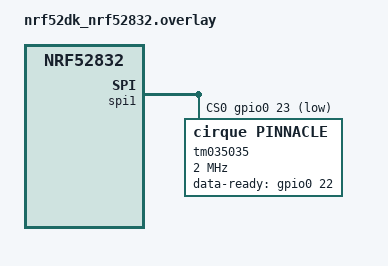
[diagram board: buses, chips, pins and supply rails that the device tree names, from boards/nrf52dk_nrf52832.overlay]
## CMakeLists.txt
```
# SPDX-License-Identifier: Apache-2.0

cmake_minimum_required(VERSION 3.26.0)
find_package(Zephyr REQUIRED HINTS $ENV{ZEPHYR_BASE})
project(pinnacle)

FILE(GLOB app_sources src/*.c)
target_sources(app PRIVATE ${app_sources})
```

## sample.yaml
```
sample:
  name: Cirque Pinnacle GlidePoint Trackpad Sensor Sample
tests:
  sample.sensor.pinnacle:
    harness: sensor
    tags: sensors
    platform_allow: nrf52dk_nrf52832
    depends_on: spi
```

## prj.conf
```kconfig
CONFIG_CONSOLE=y
CONFIG_GPIO=y
CONFIG_SENSOR=y
CONFIG_SPI=y


CONFIG_USE_SEGGER_RTT=y
CONFIG_RTT_CONSOLE=y
CONFIG_LOG=y
CONFIG_LOG_BACKEND_RTT=y
CONFIG_SENSOR=y
CONFIG_SENSOR_LOG_LEVEL_DBG=y
```

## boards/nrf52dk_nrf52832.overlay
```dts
/*
 * Copyright (c) 2024 Ilia Kharin
 *
 * SPDX-License-Identifier: Apache-2.0
 */

&spi1 {
	status = "okay";
	cs-gpios = <&gpio0 23 GPIO_ACTIVE_LOW>;
	tm035035: spi-device@0 {
		status = "okay";
		compatible = "cirque,pinnacle";
		reg = <0>;
		spi-max-frequency = <DT_FREQ_M(2)>;
		data-ready-gpios = <&gpio0 22 GPIO_ACTIVE_HIGH>;
		idle-packets-count = <20>;
		clipping-enable;
		scaling-enable;
	};
};
```

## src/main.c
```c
/*
 * Copyright (c) 2024 Ilia Kharin
 *
 * SPDX-License-Identifier: Apache-2.0
 */

#include <zephyr/device.h>
#include <zephyr/drivers/sensor.h>
#include <zephyr/kernel.h>

static struct sensor_trigger trackpad_trig;

static void trigger_handler(const struct device *dev,
			    const struct sensor_trigger *trig)
{
	struct sensor_value value[3];

	int rc = sensor_sample_fetch(dev);

	if (rc != 0) {
		printk("Error: failed to fetch sample");
		return;
	}

	rc = sensor_channel_get(dev, SENSOR_CHAN_POS_XYZ, value);
	if (rc != 0) {
		printk("Error: failed to get sample");
		return;
	}

	printk("%u:%u:%u\n", (uint16_t)value[0].val1, (uint16_t)value[1].val1,
	       (uint16_t)value[2].val1);
}

int main(void)
{
	const struct device *trackpad = DEVICE_DT_GET_ONE(cirque_pinnacle);

	if (!device_is_ready(trackpad)) {
		printk("Error: failed to init trackpad\n");
		return 0;
	}

	trackpad_trig.type = SENSOR_TRIG_DATA_READY;
	trackpad_trig.chan = SENSOR_CHAN_POS_XYZ;

	int rc = sensor_trigger_set(trackpad, &trackpad_trig, trigger_handler);

	if (rc) {
		printk("Error: failed to set trackpad trigger\n");
	}

	return 0;
}
```
